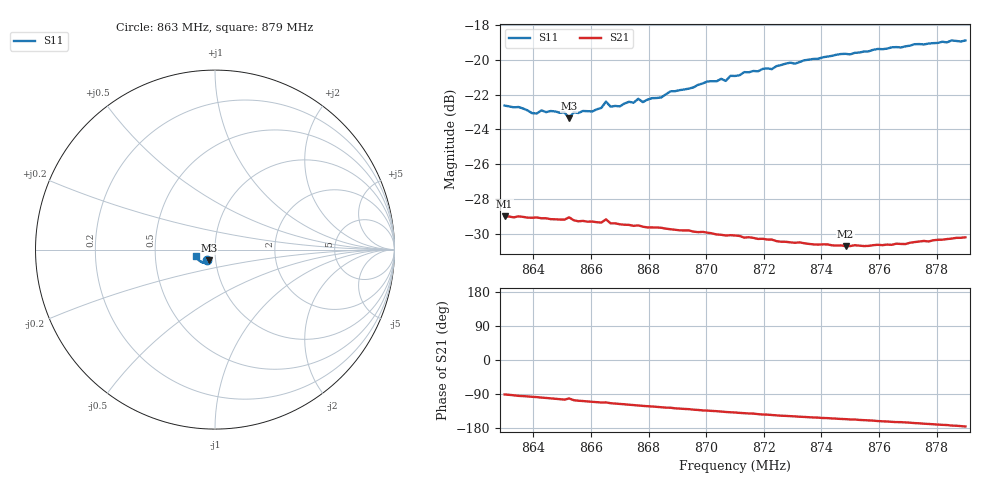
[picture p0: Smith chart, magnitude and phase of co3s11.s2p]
# HZ S RI R 50
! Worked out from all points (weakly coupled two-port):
!   101 points, 863 MHz to 879 MHz, reference 50 ohm
!   highest |S21| = -29.00 dB at 863 MHz (marker M1); lowest = -30.7 dB at 874.84 MHz (marker M2)
!   lowest |S11| = -23.3 dB at 865.24 MHz (marker M3), VSWR 1.15, Z = 46.5 - j5.54 ohm
!   |S11| at or under -10 dB: start of sweep to end of sweep
!   S12 and S22 are empty: the file has one direction only
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8.63e8  -0.0448 -0.0588  -0.000618 -0.0355  0 0  0 0
8.6396e8  -0.0407 -0.0573  -0.00438 -0.0348  0 0  0 0
8.6428e8  -0.04 -0.0594  -0.00565 -0.0345  0 0  0 0
8.6508e8  -0.0382 -0.0594  -0.00871 -0.0336  0 0  0 0
8.6524e8  -0.0333 -0.0593  -0.00706 -0.0345  0 0  0 0
8.654e8  -0.0375 -0.06  -0.00952 -0.0332  0 0  0 0
8.6572e8  -0.0371 -0.0609  -0.0108 -0.0327  0 0  0 0
8.6636e8  -0.0376 -0.0623  -0.0128 -0.0315  0 0  0 0
8.6652e8  -0.0367 -0.0664  -0.013 -0.0323  0 0  0 0
8.6668e8  -0.0382 -0.0626  -0.0138 -0.0309  0 0  0 0
8.67e8  -0.0382 -0.0628  -0.0147 -0.0302  0 0  0 0
8.6764e8  -0.0398 -0.0662  -0.0167 -0.0289  0 0  0 0
8.678e8  -0.0388 -0.0649  -0.0171 -0.0283  0 0  0 0
8.6844e8  -0.0397 -0.0672  -0.0187 -0.027  0 0  0 0
8.6876e8  -0.0414 -0.0699  -0.0191 -0.0263  0 0  0 0
8.7004e8  -0.0471 -0.0728  -0.0219 -0.023  0 0  0 0
8.7068e8  -0.0489 -0.072  -0.0229 -0.0212  0 0  0 0
8.71e8  -0.053 -0.0726  -0.0234 -0.0207  0 0  0 0
8.7372e8  -0.0714 -0.071  -0.0259 -0.014  0 0  0 0
8.7484e8  -0.0803 -0.0664  -0.0266 -0.0118  0 0  0 0
8.7644e8  -0.0922 -0.0576  -0.0281 -0.00849  0 0  0 0
8.79e8  -0.1081 -0.0357  -0.0307 -0.00248  0 0  0 0
